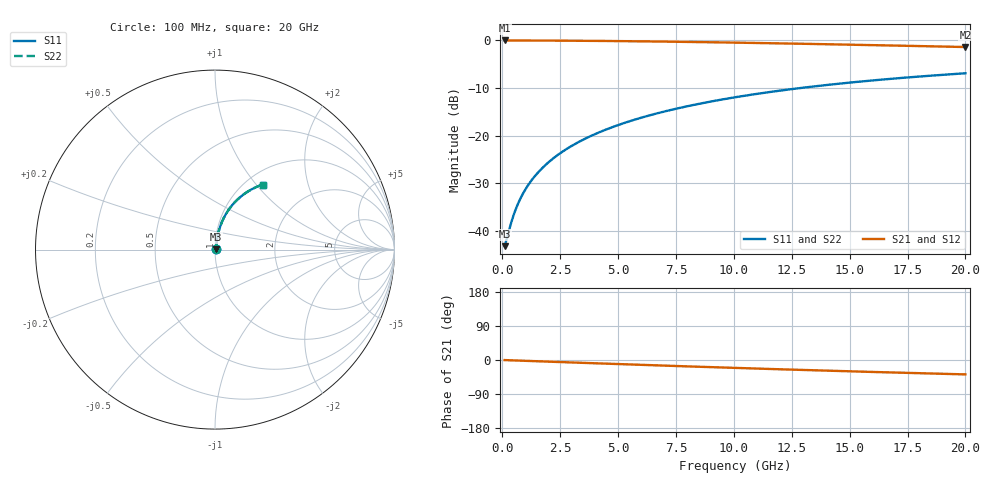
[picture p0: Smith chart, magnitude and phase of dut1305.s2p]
! Touchstone file exported from HFSS 2024.1.0
!  File:  C:/UserFiles/LocalFiles/RDL_TSV_Batchsim/temp_RDL_bottom_1305_1780368322.aedt
!  Generated:  10:47:58 AM Jun  2, 2026
!  Design:  RDL_bottom
!  Project:  temp_RDL_bottom_1305_1780368322
!  Setup:  Setup1
!  Solution:  Sweep
! Variables:
!  dtsv = 10.80580581um
!  hbump = 3um
!  htsv = 54.51um
!  ldown = 481.93um
!  lrdl = 100um
!  p = 40
!  p1 = 41.04um
!  rhole = 1um
!  t = 450um
!  tdown = 2.58um
!  trdl = 3.915915916um
!  wdown = 10.47um
!  wrdl = 20um
# GHz S MA R 50.000000
! Terminal data exported
! Port[1] = RDL1_T1
! Port[2] = RDL1_T2
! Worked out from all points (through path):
!   200 points, 100 MHz to 20 GHz, reference 50 ohm
!   highest |S21| = -0.06 dB at 100 MHz (marker M1); lowest = -1.4 dB at 20 GHz (marker M2)
!   group delay of S21, straight-line fit = 5.29 ps
!   lowest |S11| = -43.2 dB at 100 MHz (marker M3), VSWR 1.01, Z = 50.6 + j0.271 ohm
!   |S11| at or under -10 dB: start of sweep to 12.93 GHz
!   |S22| runs from -43.2 to -6.9 dB; largest |S21 - S12| = 2.7e-15
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0.1  0.006921 22.8  0.9936 -0.2  0.9936 -0.2  0.006921 22.8
! Gamma 0 0 0 0
! Port Impedance 50 0 50 0
0.4  0.01257 58.0  0.9934 -0.9  0.9934 -0.9  0.01257 58.0
0.5  0.01493 62.8  0.9932 -1.1  0.9932 -1.1  0.01493 62.8
0.6  0.01735 66.3  0.9931 -1.3  0.9931 -1.3  0.01735 66.3
0.7  0.01982 68.8  0.9929 -1.6  0.9929 -1.6  0.01982 68.8
0.9  0.0248 72.2  0.9926 -2.0  0.9926 -2.0  0.0248 72.2
1.2  0.03233 75.2  0.9921 -2.6  0.9921 -2.6  0.03233 75.2
1.4  0.03738 76.4  0.9917 -3.1  0.9917 -3.1  0.03738 76.4
1.7  0.04496 77.6  0.9911 -3.7  0.9911 -3.7  0.04496 77.6
2.2  0.05764 78.7  0.9899 -4.8  0.9899 -4.8  0.05764 78.7
2.8  0.0729 79.1  0.9881 -6.1  0.9881 -6.1  0.0729 79.1
3.5  0.09072 78.9  0.9856 -7.6  0.9856 -7.6  0.09072 78.9
4.2  0.1085 78.4  0.9827 -9.1  0.9827 -9.1  0.1085 78.4
5  0.1288 77.6  0.9787 -10.7  0.9787 -10.7  0.1288 77.6
5.9  0.1514 76.4  0.9737 -12.6  0.9737 -12.6  0.1514 76.4
6.8  0.1738 75.1  0.968 -14.4  0.968 -14.4  0.1738 75.1
8.3  0.2105 72.7  0.9573 -17.5  0.9573 -17.5  0.2105 72.7
10.1  0.2531 69.7  0.9429 -21.0  0.9429 -21.0  0.2531 69.8
11.7  0.2895 67.1  0.9289 -24.0  0.9289 -24.0  0.2895 67.1
13.4  0.3263 64.2  0.9131 -27.0  0.9131 -27.0  0.3263 64.2
16.7  0.392 58.8  0.8809 -32.7  0.8809 -32.7  0.392 58.8
20  0.4499 53.7  0.8478 -38.0  0.8478 -38.0  0.4499 53.7
